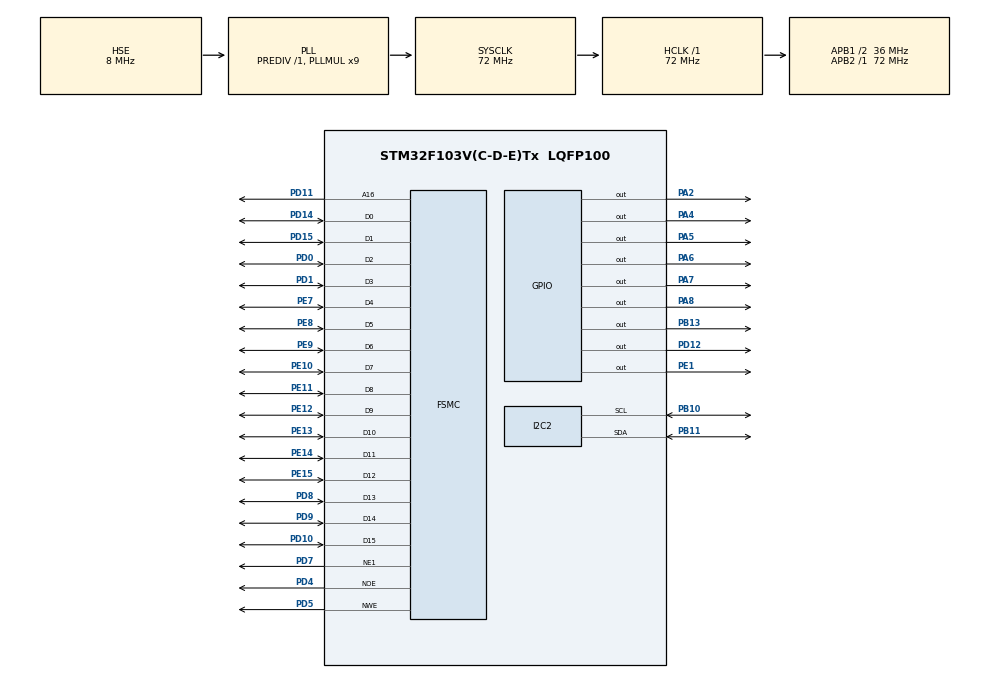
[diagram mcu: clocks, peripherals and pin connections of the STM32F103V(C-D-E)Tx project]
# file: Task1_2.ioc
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Mcu.Family=STM32F1
Mcu.Name=STM32F103V(C-D-E)Tx
Mcu.Package=LQFP100
NVIC.PriorityGroup=NVIC_PRIORITYGROUP_4
OSC_IN.Mode=HSE-External-Oscillator
OSC_IN.Signal=RCC_OSC_IN
OSC_OUT.Mode=HSE-External-Oscillator
OSC_OUT.Signal=RCC_OSC_OUT
PA13.Mode=Serial_Wire
PA13.Signal=SYS_JTMS-SWDIO
PA14.Mode=Serial_Wire
PA14.Signal=SYS_JTCK-SWCLK
PA2.GPIO_Speed=GPIO_SPEED_FREQ_HIGH
PA2.PinState=GPIO_PIN_SET
PA2.Signal=GPIO_Output
PA4.GPIO_Speed=GPIO_SPEED_FREQ_HIGH
PA4.PinState=GPIO_PIN_SET
PA4.Signal=GPIO_Output
PA5.GPIO_Speed=GPIO_SPEED_FREQ_HIGH
PA5.PinState=GPIO_PIN_SET
PA5.Signal=GPIO_Output
PA6.GPIO_Speed=GPIO_SPEED_FREQ_HIGH
PA6.PinState=GPIO_PIN_SET
PA6.Signal=GPIO_Output
PA7.GPIO_Speed=GPIO_SPEED_FREQ_HIGH
PA7.PinState=GPIO_PIN_SET
PA7.Signal=GPIO_Output
PA8.GPIO_Speed=GPIO_SPEED_FREQ_HIGH
PA8.PinState=GPIO_PIN_SET
PA8.Signal=GPIO_Output
PB10.Mode=I2C
PB10.Signal=I2C2_SCL
PB11.Mode=I2C
PB11.Signal=I2C2_SDA
PB13.GPIO_Speed=GPIO_SPEED_FREQ_HIGH
PB13.PinState=GPIO_PIN_SET
PB13.Signal=GPIO_Output
PC14-OSC32_IN.Mode=LSE-External-Oscillator
PC14-OSC32_IN.Signal=RCC_OSC32_IN
PC15-OSC32_OUT.Mode=LSE-External-Oscillator
PC15-OSC32_OUT.Signal=RCC_OSC32_OUT
PD0.Mode=16b-d1
PD0.Signal=FSMC_D2
PD1.Mode=16b-d1
PD1.Signal=FSMC_D3
PD10.Mode=16b-d1
PD10.Signal=FSMC_D15
PD11.Mode=A16_1
PD11.Signal=FSMC_A16
PD12.GPIO_Speed=GPIO_SPEED_FREQ_HIGH
PD12.Signal=GPIO_Output
PD14.Mode=16b-d1
PD14.Signal=FSMC_D0
PD15.Mode=16b-d1
PD15.Signal=FSMC_D1
PD4.Mode=Lcd1
PD4.Signal=FSMC_NOE
PD5.Mode=Lcd1
PD5.Signal=FSMC_NWE
PD7.Mode=NorPsramChipSelect1_1
PD7.Signal=FSMC_NE1
PD8.Mode=16b-d1
PD8.Signal=FSMC_D13
PD9.Mode=16b-d1
PD9.Signal=FSMC_D14
PE1.GPIO_Speed=GPIO_SPEED_FREQ_HIGH
PE1.Signal=GPIO_Output
PE10.Mode=16b-d1
PE10.Signal=FSMC_D7
PE11.Mode=16b-d1
PE11.Signal=FSMC_D8
PE12.Mode=16b-d1
PE12.Signal=FSMC_D9
PE13.Mode=16b-d1
PE13.Signal=FSMC_D10
PE14.Mode=16b-d1
PE14.Signal=FSMC_D11
PE15.Mode=16b-d1
PE15.Signal=FSMC_D12
PE7.Mode=16b-d1
PE7.Signal=FSMC_D4
PE8.Mode=16b-d1
PE8.Signal=FSMC_D5
PE9.Mode=16b-d1
PE9.Signal=FSMC_D6
ProjectManager.HeapSize=0x200
ProjectManager.StackSize=0x400
ProjectManager.TargetToolchain=MDK-ARM V5
RCC.AHBFreq_Value=72000000
RCC.APB1CLKDivider=RCC_HCLK_DIV2
RCC.APB1Freq_Value=36000000
RCC.APB1TimFreq_Value=72000000
RCC.APB2Freq_Value=72000000
RCC.APB2TimFreq_Value=72000000
RCC.HCLKFreq_Value=72000000
RCC.PLLMUL=RCC_PLL_MUL9
RCC.PLLSourceVirtual=RCC_PLLSOURCE_HSE
RCC.SYSCLKFreq_VALUE=72000000
RCC.SYSCLKSource=RCC_SYSCLKSOURCE_PLLCLK
RCC.USBFreq_Value=72000000
board=custom

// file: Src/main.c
/* USER CODE BEGIN Header */
/**
  ******************************************************************************
  * @file           : main.c
  * @brief          : Main program body
  ******************************************************************************
  * @attention
  *
  * <h2><center>&copy; Copyright (c) 2021 STMicroelectronics.
  * All rights reserved.</center></h2>
  *
  * This software component is licensed by ST under BSD 3-Clause license,
  * the "License"; You may not use this file except in compliance with the
  * License. You may obtain a copy of the License at:
  *                        opensource.org/licenses/BSD-3-Clause
  *
  ******************************************************************************
  */
/* USER CODE END Header */

#include "main.h"

/* USER CODE BEGIN Includes */
#include "lcd.h"
#include <math.h>
/* USER CODE END Includes */

/* USER CODE BEGIN PTD */
#define M_PI acos(-1.0)
/* USER CODE END PTD */

I2C_HandleTypeDef hi2c2;

SRAM_HandleTypeDef hsram1;

void SystemClock_Config(void);
static void MX_GPIO_Init(void);
static void MX_FSMC_Init(void);
static void MX_I2C2_Init(void);

int main(void)
{

  /* MCU Configuration--------------------------------------------------------*/

  /* Reset of all peripherals, Initializes the Flash interface and the Systick. */
  HAL_Init();

  /* Configure the system clock */
  SystemClock_Config();

  /* Initialize all configured peripherals */
  MX_GPIO_Init();
  MX_FSMC_Init();
  MX_I2C2_Init();
  /* USER CODE BEGIN 2 */
	LCD_INIT();

	uint8_t HMC5883L_Addr = 0x1E;
	uint8_t CRA = 0x70;
	uint8_t CRB = 0xA0;
	uint8_t QV = 0x01;
	HAL_I2C_Mem_Write(&hi2c2, HMC5883L_Addr<<1, 0x00, 1, &CRA, 1, 100);
	HAL_I2C_Mem_Write(&hi2c2, HMC5883L_Addr<<1, 0x01, 1, &CRB, 1, 100);

	int16_t x = 0;
	int16_t y = 0;
  int16_t degree = 0;
	uint8_t digit=0;
	uint8_t DXRA, DXRB, DYRA, DYRB;
	char buffer [50];
  /* USER CODE END 2 */

  /* Infinite loop */
  while (1)
  {

    /* USER CODE BEGIN 3 */
		HAL_I2C_Mem_Write(&hi2c2, HMC5883L_Addr<<1, 0x02, 1, &QV, 1, 100);
		HAL_Delay(15);
		HAL_I2C_Mem_Read(&hi2c2, HMC5883L_Addr<<1, 0x03, 1, &DXRA, 1, 100);
		HAL_I2C_Mem_Read(&hi2c2, HMC5883L_Addr<<1, 0x04, 1, &DXRB, 1, 100);
		HAL_I2C_Mem_Read(&hi2c2, HMC5883L_Addr<<1, 0x07, 1, &DYRA, 1, 100);
		HAL_I2C_Mem_Read(&hi2c2, HMC5883L_Addr<<1, 0x08, 1, &DYRB, 1, 100);

		x = (DXRA << 8) | DXRB;
		y = (DYRA << 8) | DYRB;

		degree = atan2(y,x)*(180.0/M_PI);

		if (degree < 0)
			degree += 360;

		digit = degree % 10;

		LCD_DrawString(50, 15, "X:");
		sprintf(buffer, "%04d", x);
		LCD_DrawString(100, 15, buffer);
		LCD_DrawString(50, 30, "Y:");
		sprintf(buffer, "%04d", y);
		LCD_DrawString(100, 30, buffer);

		LCD_DrawString(50, 45, "Angle:");
		sprintf(buffer, "%03d", degree);
		LCD_DrawString(100, 45, buffer);

		switch(digit){
			case(0):
				HAL_GPIO_WritePin(GPIOA, GPIO_PIN_2, GPIO_PIN_RESET); // a
				HAL_GPIO_WritePin(GPIOA, GPIO_PIN_4, GPIO_PIN_RESET); // b
				HAL_GPIO_WritePin(GPIOA, GPIO_PIN_5, GPIO_PIN_RESET); // c
				HAL_GPIO_WritePin(GPIOA, GPIO_PIN_6, GPIO_PIN_RESET); // d
				HAL_GPIO_WritePin(GPIOA, GPIO_PIN_7, GPIO_PIN_RESET); //e
				HAL_GPIO_WritePin(GPIOA, GPIO_PIN_8, GPIO_PIN_RESET); //f
				HAL_GPIO_WritePin(GPIOB, GPIO_PIN_13, GPIO_PIN_SET); //g
				break;
			case(1):
				HAL_GPIO_WritePin(GPIOA, GPIO_PIN_2, GPIO_PIN_SET);
				HAL_GPIO_WritePin(GPIOA, GPIO_PIN_4, GPIO_PIN_RESET);
				HAL_GPIO_WritePin(GPIOA, GPIO_PIN_5, GPIO_PIN_RESET);
				HAL_GPIO_WritePin(GPIOA, GPIO_PIN_6, GPIO_PIN_SET);
				HAL_GPIO_WritePin(GPIOA, GPIO_PIN_7, GPIO_PIN_SET);
				HAL_GPIO_WritePin(GPIOA, GPIO_PIN_8, GPIO_PIN_SET);
				HAL_GPIO_WritePin(GPIOB, GPIO_PIN_13, GPIO_PIN_SET);
				break;
			case(2):
				HAL_GPIO_WritePin(GPIOA, GPIO_PIN_2, GPIO_PIN_RESET);
				HAL_GPIO_WritePin(GPIOA, GPIO_PIN_4, GPIO_PIN_RESET);
				HAL_GPIO_WritePin(GPIOA, GPIO_PIN_5, GPIO_PIN_SET);
				HAL_GPIO_WritePin(GPIOA, GPIO_PIN_6, GPIO_PIN_RESET);
				HAL_GPIO_WritePin(GPIOA, GPIO_PIN_7, GPIO_PIN_RESET);
				HAL_GPIO_WritePin(GPIOA, GPIO_PIN_8, GPIO_PIN_SET);
				HAL_GPIO_WritePin(GPIOB, GPIO_PIN_13, GPIO_PIN_RESET);
				break;
			case(3):
				HAL_GPIO_WritePin(GPIOA, GPIO_PIN_2, GPIO_PIN_RESET);
				HAL_GPIO_WritePin(GPIOA, GPIO_PIN_4, GPIO_PIN_RESET);
				HAL_GPIO_WritePin(GPIOA, GPIO_PIN_5, GPIO_PIN_RESET);
				HAL_GPIO_WritePin(GPIOA, GPIO_PIN_6, GPIO_PIN_RESET);
				HAL_GPIO_WritePin(GPIOA, GPIO_PIN_7, GPIO_PIN_SET);
				HAL_GPIO_WritePin(GPIOA, GPIO_PIN_8, GPIO_PIN_SET);
				HAL_GPIO_WritePin(GPIOB, GPIO_PIN_13, GPIO_PIN_RESET);
				break;
			case(4):
				HAL_GPIO_WritePin(GPIOA, GPIO_PIN_2, GPIO_PIN_SET);
				HAL_GPIO_WritePin(GPIOA, GPIO_PIN_4, GPIO_PIN_RESET);
				HAL_GPIO_WritePin(GPIOA, GPIO_PIN_5, GPIO_PIN_RESET);
				HAL_GPIO_WritePin(GPIOA, GPIO_PIN_6, GPIO_PIN_SET);
				HAL_GPIO_WritePin(GPIOA, GPIO_PIN_7, GPIO_PIN_SET);
				HAL_GPIO_WritePin(GPIOA, GPIO_PIN_8, GPIO_PIN_RESET);
				HAL_GPIO_WritePin(GPIOB, GPIO_PIN_13, GPIO_PIN_RESET);
				break;
			case(5):
				HAL_GPIO_WritePin(GPIOA, GPIO_PIN_2, GPIO_PIN_RESET);
				HAL_GPIO_WritePin(GPIOA, GPIO_PIN_4, GPIO_PIN_SET);
				HAL_GPIO_WritePin(GPIOA, GPIO_PIN_5, GPIO_PIN_RESET);
				HAL_GPIO_WritePin(GPIOA, GPIO_PIN_6, GPIO_PIN_RESET);
				HAL_GPIO_WritePin(GPIOA, GPIO_PIN_7, GPIO_PIN_SET);
				HAL_GPIO_WritePin(GPIOA, GPIO_PIN_8, GPIO_PIN_RESET);
				HAL_GPIO_WritePin(GPIOB, GPIO_PIN_13, GPIO_PIN_RESET);
				break;
			case(6):
				HAL_GPIO_WritePin(GPIOA, GPIO_PIN_2, GPIO_PIN_RESET);
				HAL_GPIO_WritePin(GPIOA, GPIO_PIN_4, GPIO_PIN_SET);
				HAL_GPIO_WritePin(GPIOA, GPIO_PIN_5, GPIO_PIN_RESET);
				HAL_GPIO_WritePin(GPIOA, GPIO_PIN_6, GPIO_PIN_RESET);
				HAL_GPIO_WritePin(GPIOA, GPIO_PIN_7, GPIO_PIN_RESET);
				HAL_GPIO_WritePin(GPIOA, GPIO_PIN_8, GPIO_PIN_RESET);
				HAL_GPIO_WritePin(GPIOB, GPIO_PIN_13, GPIO_PIN_RESET);
				break;
			case(7):
				HAL_GPIO_WritePin(GPIOA, GPIO_PIN_2, GPIO_PIN_RESET);
				HAL_GPIO_WritePin(GPIOA, GPIO_PIN_4, GPIO_PIN_RESET);
				HAL_GPIO_WritePin(GPIOA, GPIO_PIN_5, GPIO_PIN_RESET);
				HAL_GPIO_WritePin(GPIOA, GPIO_PIN_6, GPIO_PIN_SET);
				HAL_GPIO_WritePin(GPIOA, GPIO_PIN_7, GPIO_PIN_SET);
				HAL_GPIO_WritePin(GPIOA, GPIO_PIN_8, GPIO_PIN_RESET);
				HAL_GPIO_WritePin(GPIOB, GPIO_PIN_13, GPIO_PIN_SET);
				break;
			case(8):
				HAL_GPIO_WritePin(GPIOA, GPIO_PIN_2, GPIO_PIN_RESET);
				HAL_GPIO_WritePin(GPIOA, GPIO_PIN_4, GPIO_PIN_RESET);
				HAL_GPIO_WritePin(GPIOA, GPIO_PIN_5, GPIO_PIN_RESET);
				HAL_GPIO_WritePin(GPIOA, GPIO_PIN_6, GPIO_PIN_RESET);
				HAL_GPIO_WritePin(GPIOA, GPIO_PIN_7, GPIO_PIN_RESET);
				HAL_GPIO_WritePin(GPIOA, GPIO_PIN_8, GPIO_PIN_RESET);
				HAL_GPIO_WritePin(GPIOB, GPIO_PIN_13, GPIO_PIN_RESET);
				break;
			default:
				HAL_GPIO_WritePin(GPIOA, GPIO_PIN_2, GPIO_PIN_RESET);
				HAL_GPIO_WritePin(GPIOA, GPIO_PIN_4, GPIO_PIN_RESET);
				HAL_GPIO_WritePin(GPIOA, GPIO_PIN_5, GPIO_PIN_RESET);
				HAL_GPIO_WritePin(GPIOA, GPIO_PIN_6, GPIO_PIN_RESET);
				HAL_GPIO_WritePin(GPIOA, GPIO_PIN_7, GPIO_PIN_SET);
				HAL_GPIO_WritePin(GPIOA, GPIO_PIN_8, GPIO_PIN_RESET);
				HAL_GPIO_WritePin(GPIOB, GPIO_PIN_13, GPIO_PIN_RESET);
		}

  }
  /* USER CODE END 3 */
}

void SystemClock_Config(void)
{
  RCC_OscInitTypeDef RCC_OscInitStruct = {0};
  RCC_ClkInitTypeDef RCC_ClkInitStruct = {0};

  /** Initializes the CPU, AHB and APB busses clocks
  */
  RCC_OscInitStruct.OscillatorType = RCC_OSCILLATORTYPE_HSE;
  RCC_OscInitStruct.HSEState = RCC_HSE_ON;
  RCC_OscInitStruct.HSEPredivValue = RCC_HSE_PREDIV_DIV1;
  RCC_OscInitStruct.HSIState = RCC_HSI_ON;
  RCC_OscInitStruct.PLL.PLLState = RCC_PLL_ON;
  RCC_OscInitStruct.PLL.PLLSource = RCC_PLLSOURCE_HSE;
  RCC_OscInitStruct.PLL.PLLMUL = RCC_PLL_MUL9;
  if (HAL_RCC_OscConfig(&RCC_OscInitStruct) != HAL_OK)
  {
    Error_Handler();
  }
  /** Initializes the CPU, AHB and APB busses clocks
  */
  RCC_ClkInitStruct.ClockType = RCC_CLOCKTYPE_HCLK|RCC_CLOCKTYPE_SYSCLK
                              |RCC_CLOCKTYPE_PCLK1|RCC_CLOCKTYPE_PCLK2;
  RCC_ClkInitStruct.SYSCLKSource = RCC_SYSCLKSOURCE_PLLCLK;
  RCC_ClkInitStruct.AHBCLKDivider = RCC_SYSCLK_DIV1;
  RCC_ClkInitStruct.APB1CLKDivider = RCC_HCLK_DIV2;
  RCC_ClkInitStruct.APB2CLKDivider = RCC_HCLK_DIV1;

  if (HAL_RCC_ClockConfig(&RCC_ClkInitStruct, FLASH_LATENCY_2) != HAL_OK)
  {
    Error_Handler();
  }
}

static void MX_I2C2_Init(void)
{

  hi2c2.Instance = I2C2;
  hi2c2.Init.ClockSpeed = 100000;
  hi2c2.Init.DutyCycle = I2C_DUTYCYCLE_2;
  hi2c2.Init.OwnAddress1 = 0;
  hi2c2.Init.AddressingMode = I2C_ADDRESSINGMODE_7BIT;
  hi2c2.Init.DualAddressMode = I2C_DUALADDRESS_DISABLE;
  hi2c2.Init.OwnAddress2 = 0;
  hi2c2.Init.GeneralCallMode = I2C_GENERALCALL_DISABLE;
  hi2c2.Init.NoStretchMode = I2C_NOSTRETCH_DISABLE;
  if (HAL_I2C_Init(&hi2c2) != HAL_OK)
  {
    Error_Handler();
  }

}

static void MX_GPIO_Init(void)
{
  GPIO_InitTypeDef GPIO_InitStruct = {0};

  /* GPIO Ports Clock Enable */
  __HAL_RCC_GPIOC_CLK_ENABLE();
  __HAL_RCC_GPIOA_CLK_ENABLE();
  __HAL_RCC_GPIOE_CLK_ENABLE();
  __HAL_RCC_GPIOB_CLK_ENABLE();
  __HAL_RCC_GPIOD_CLK_ENABLE();

  /*Configure GPIO pin Output Level */
  HAL_GPIO_WritePin(GPIOA, GPIO_PIN_2|GPIO_PIN_4|GPIO_PIN_5|GPIO_PIN_6
                          |GPIO_PIN_7|GPIO_PIN_8, GPIO_PIN_SET);

  /*Configure GPIO pin Output Level */
  HAL_GPIO_WritePin(GPIOB, GPIO_PIN_13, GPIO_PIN_SET);

  /*Configure GPIO pin Output Level */
  HAL_GPIO_WritePin(GPIOD, GPIO_PIN_12, GPIO_PIN_RESET);

  /*Configure GPIO pin Output Level */
  HAL_GPIO_WritePin(GPIOE, GPIO_PIN_1, GPIO_PIN_RESET);

  /*Configure GPIO pins : PA2 PA4 PA5 PA6
                           PA7 PA8 */
  GPIO_InitStruct.Pin = GPIO_PIN_2|GPIO_PIN_4|GPIO_PIN_5|GPIO_PIN_6
                          |GPIO_PIN_7|GPIO_PIN_8;
  GPIO_InitStruct.Mode = GPIO_MODE_OUTPUT_PP;
  GPIO_InitStruct.Pull = GPIO_NOPULL;
  GPIO_InitStruct.Speed = GPIO_SPEED_FREQ_HIGH;
  HAL_GPIO_Init(GPIOA, &GPIO_InitStruct);

  /*Configure GPIO pin : PB13 */
  GPIO_InitStruct.Pin = GPIO_PIN_13;
  GPIO_InitStruct.Mode = GPIO_MODE_OUTPUT_PP;
  GPIO_InitStruct.Pull = GPIO_NOPULL;
  GPIO_InitStruct.Speed = GPIO_SPEED_FREQ_HIGH;
  HAL_GPIO_Init(GPIOB, &GPIO_InitStruct);

  /*Configure GPIO pin : PD12 */
  GPIO_InitStruct.Pin = GPIO_PIN_12;
  GPIO_InitStruct.Mode = GPIO_MODE_OUTPUT_PP;
  GPIO_InitStruct.Pull = GPIO_NOPULL;
  GPIO_InitStruct.Speed = GPIO_SPEED_FREQ_HIGH;
  HAL_GPIO_Init(GPIOD, &GPIO_InitStruct);

  /*Configure GPIO pin : PE1 */
  GPIO_InitStruct.Pin = GPIO_PIN_1;
  GPIO_InitStruct.Mode = GPIO_MODE_OUTPUT_PP;
  GPIO_InitStruct.Pull = GPIO_NOPULL;
  GPIO_InitStruct.Speed = GPIO_SPEED_FREQ_HIGH;
  HAL_GPIO_Init(GPIOE, &GPIO_InitStruct);

}

/* FSMC initialization function */
static void MX_FSMC_Init(void)
{

  FSMC_NORSRAM_TimingTypeDef Timing = {0};

  /** Perform the SRAM1 memory initialization sequence
  */
  hsram1.Instance = FSMC_NORSRAM_DEVICE;
  hsram1.Extended = FSMC_NORSRAM_EXTENDED_DEVICE;
  /* hsram1.Init */
  hsram1.Init.NSBank = FSMC_NORSRAM_BANK1;
  hsram1.Init.DataAddressMux = FSMC_DATA_ADDRESS_MUX_DISABLE;
  hsram1.Init.MemoryType = FSMC_MEMORY_TYPE_SRAM;
  hsram1.Init.MemoryDataWidth = FSMC_NORSRAM_MEM_BUS_WIDTH_16;
  hsram1.Init.BurstAccessMode = FSMC_BURST_ACCESS_MODE_DISABLE;
  hsram1.Init.WaitSignalPolarity = FSMC_WAIT_SIGNAL_POLARITY_LOW;
  hsram1.Init.WrapMode = FSMC_WRAP_MODE_DISABLE;
  hsram1.Init.WaitSignalActive = FSMC_WAIT_TIMING_BEFORE_WS;
  hsram1.Init.WriteOperation = FSMC_WRITE_OPERATION_ENABLE;
  hsram1.Init.WaitSignal = FSMC_WAIT_SIGNAL_DISABLE;
  hsram1.Init.ExtendedMode = FSMC_EXTENDED_MODE_DISABLE;
  hsram1.Init.AsynchronousWait = FSMC_ASYNCHRONOUS_WAIT_DISABLE;
  hsram1.Init.WriteBurst = FSMC_WRITE_BURST_DISABLE;
  /* Timing */
  Timing.AddressSetupTime = 15;
  Timing.AddressHoldTime = 15;
  Timing.DataSetupTime = 255;
  Timing.BusTurnAroundDuration = 15;
  Timing.CLKDivision = 16;
  Timing.DataLatency = 17;
  Timing.AccessMode = FSMC_ACCESS_MODE_A;
  /* ExtTiming */

  if (HAL_SRAM_Init(&hsram1, &Timing, NULL) != HAL_OK)
  {
    Error_Handler( );
  }

  /** Disconnect NADV
  */

  __HAL_AFIO_FSMCNADV_DISCONNECTED();

}

void Error_Handler(void)
{
}

/************************ (C) COPYRIGHT STMicroelectronics *****END OF FILE****/
